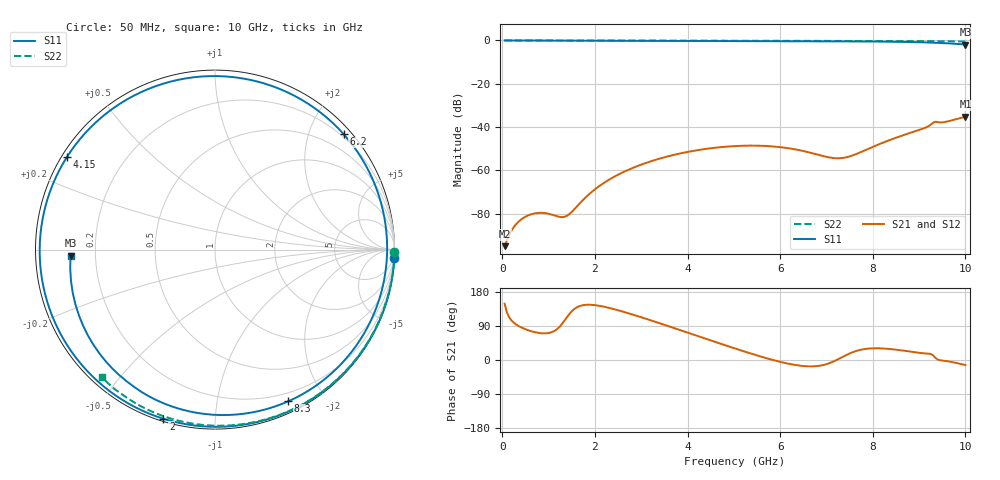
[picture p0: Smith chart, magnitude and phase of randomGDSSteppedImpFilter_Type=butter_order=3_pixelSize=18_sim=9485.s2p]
! freq	dB(S11)	phase(S11)	dB(S12)	phase(S12)
!  dB(S21)	phase(S21)	dB(S22)	phase(S22)
!S-par simulation data
#  GHz  S  DB  R 50
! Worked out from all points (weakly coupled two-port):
!   200 points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, 50 MHz to 10 GHz, reference 50 ohm
!   highest |S21| = -35.22 dB at 10 GHz (marker M1); lowest = -95.1 dB at 50 MHz (marker M2)
!   lowest |S11| = -1.9 dB at 10 GHz (marker M3), VSWR 9.28, Z = 5.39 - j1.04 ohm
!   |S11| at or under -10 dB: nowhere
!   |S22| runs from -0.4 to 0.0 dB; largest |S21 - S12| = 0
!   S11 on the Smith chart (normalised r, x): 50 MHz: 0, -41; 2 GHz: 0.01, -0.74; 4.15 GHz: 0.01, +0.29; 6.2 GHz: 0.15, +2.60; 8.3 GHz: 0.11, -1.59; 10 GHz: 0.11, -0.02
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0.05  -0.00 -2.8  -95.10 148.5  -95.10 148.5  -0.00 -0.8
0.8  -0.05 -44.4  -79.70 71.2  -79.70 71.2  -0.01 -12.1
1.45  -0.10 -78.9  -80.24 121.7  -80.24 121.7  -0.03 -21.8
1.75  -0.12 -94.4  -73.60 144.8  -73.60 144.8  -0.03 -26.2
2  -0.13 -107.0  -68.83 144.8  -68.83 144.8  -0.04 -29.9
2.75  -0.17 -143.8  -59.53 122.4  -59.53 122.4  -0.05 -40.7
3.4  -0.20 -175.2  -54.60 97.0  -54.60 97.0  -0.07 -49.9
4.15  -0.24 148.1  -50.95 66.2  -50.95 66.2  -0.08 -60.3
4.65  -0.26 122.9  -49.47 45.6  -49.47 45.6  -0.10 -67.0
5.05  -0.28 102.3  -48.80 29.4  -48.80 29.4  -0.11 -72.3
5.6  -0.31 73.5  -48.70 8.4  -48.70 8.4  -0.13 -79.4
6.2  -0.33 41.9  -49.89 -10.3  -49.89 -10.3  -0.16 -87.0
6.7  -0.35 15.9  -52.15 -16.8  -52.15 -16.8  -0.18 -93.1
7.35  -0.39 -17.0  -54.33 8.3  -54.33 8.3  -0.22 -101.0
7.8  -0.45 -39.4  -51.07 28.4  -51.07 28.4  -0.25 -106.3
8.3  -0.55 -64.3  -46.57 29.7  -46.57 29.7  -0.28 -112.2
8.35  -0.56 -66.8  -46.16 29.2  -46.16 29.2  -0.29 -112.7
8.8  -0.72 -90.5  -42.79 22.4  -42.79 22.4  -0.33 -117.9
9.2  -0.95 -114.0  -39.67 16.8  -39.67 16.8  -0.37 -122.4
9.35  -1.07 -123.8  -37.58 5.9  -37.58 5.9  -0.37 -124.1
9.6  -1.31 -141.9  -37.50 -3.0  -37.50 -3.0  -0.39 -127.0
10  -1.88 -177.6  -35.22 -13.4  -35.22 -13.4  -0.44 -131.6
